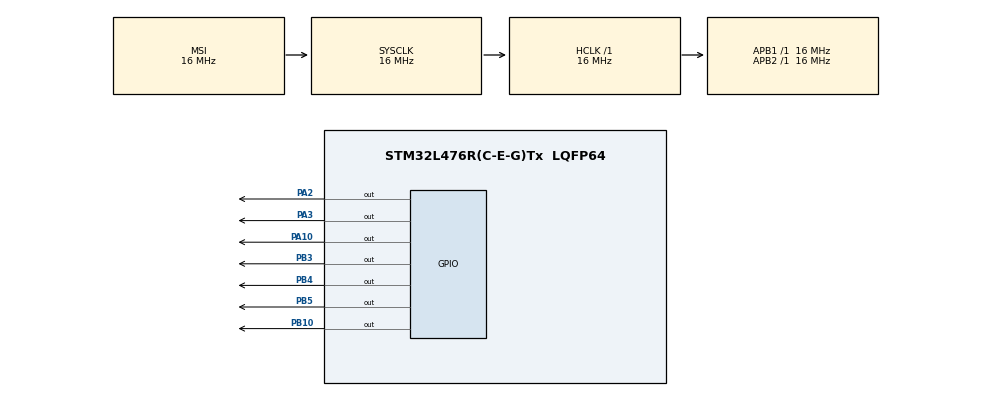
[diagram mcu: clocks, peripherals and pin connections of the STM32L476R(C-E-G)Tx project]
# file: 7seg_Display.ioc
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Mcu.Family=STM32L4
Mcu.Name=STM32L476R(C-E-G)Tx
Mcu.Package=LQFP64
NVIC.PriorityGroup=NVIC_PRIORITYGROUP_4
PA10.Signal=GPIO_Output
PA2.Signal=GPIO_Output
PA3.Signal=GPIO_Output
PB10.Signal=GPIO_Output
PB3\ (JTDO-TRACESWO).Signal=GPIO_Output
PB4\ (NJTRST).Signal=GPIO_Output
PB5.Signal=GPIO_Output
ProjectManager.HeapSize=0x200
ProjectManager.StackSize=0x400
ProjectManager.TargetToolchain=STM32CubeIDE
RCC.ADCFreq_Value=64000000
RCC.AHBFreq_Value=16000000
RCC.APB1Freq_Value=16000000
RCC.APB1TimFreq_Value=16000000
RCC.APB2Freq_Value=16000000
RCC.APB2TimFreq_Value=16000000
RCC.CortexFreq_Value=16000000
RCC.HCLKFreq_Value=16000000
RCC.HSE_VALUE=8000000
RCC.HSI_VALUE=16000000
RCC.LSE_VALUE=32768
RCC.MSIClockRange=RCC_MSIRANGE_8
RCC.MSI_VALUE=16000000
RCC.SYSCLKFreq_VALUE=16000000
RCC.USBFreq_Value=64000000
RCC.VCOOutputFreq_Value=128000000
board=custom

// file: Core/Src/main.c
/* USER CODE BEGIN Header */
/**
  ******************************************************************************
  * @file           : main.c
  * @brief          : Main program body
  ******************************************************************************
  * @attention
  *
  * Copyright (c) 2023 STMicroelectronics.
  * All rights reserved.
  *
  * This software is licensed under terms that can be found in the LICENSE file
  * in the root directory of this software component.
  * If no LICENSE file comes with this software, it is provided AS-IS.
  *
  ******************************************************************************
  */
/* USER CODE END Header */
#include "main.h"

void SystemClock_Config(void);
static void MX_GPIO_Init(void);

/* USER CODE BEGIN PFP */
void SegDisplay_U(uint16_t chiffre);
/* USER CODE END PFP */

int main(void)
{

  /* MCU Configuration--------------------------------------------------------*/

  /* Reset of all peripherals, Initializes the Flash interface and the Systick. */
  HAL_Init();

  /* Configure the system clock */
  SystemClock_Config();

  /* Initialize all configured peripherals */
  MX_GPIO_Init();

  /* Infinite loop */
  while (1)
  {

    /* USER CODE BEGIN 3 */
	 int j;
	 for(j = 0; j < 10 ; j++){
	 SegDisplay_U(j);
	 HAL_Delay(500);
  }
  /* USER CODE END 3 */
}

void SystemClock_Config(void)
{
  RCC_OscInitTypeDef RCC_OscInitStruct = {0};
  RCC_ClkInitTypeDef RCC_ClkInitStruct = {0};

  /** Configure the main internal regulator output voltage
  */
  if (HAL_PWREx_ControlVoltageScaling(PWR_REGULATOR_VOLTAGE_SCALE1) != HAL_OK)
  {
    Error_Handler();
  }

  /** Initializes the RCC Oscillators according to the specified parameters
  * in the RCC_OscInitTypeDef structure.
  */
  RCC_OscInitStruct.OscillatorType = RCC_OSCILLATORTYPE_MSI;
  RCC_OscInitStruct.MSIState = RCC_MSI_ON;
  RCC_OscInitStruct.MSICalibrationValue = 0;
  RCC_OscInitStruct.MSIClockRange = RCC_MSIRANGE_8;
  RCC_OscInitStruct.PLL.PLLState = RCC_PLL_NONE;
  if (HAL_RCC_OscConfig(&RCC_OscInitStruct) != HAL_OK)
  {
    Error_Handler();
  }

  /** Initializes the CPU, AHB and APB buses clocks
  */
  RCC_ClkInitStruct.ClockType = RCC_CLOCKTYPE_HCLK|RCC_CLOCKTYPE_SYSCLK
                              |RCC_CLOCKTYPE_PCLK1|RCC_CLOCKTYPE_PCLK2;
  RCC_ClkInitStruct.SYSCLKSource = RCC_SYSCLKSOURCE_MSI;
  RCC_ClkInitStruct.AHBCLKDivider = RCC_SYSCLK_DIV1;
  RCC_ClkInitStruct.APB1CLKDivider = RCC_HCLK_DIV1;
  RCC_ClkInitStruct.APB2CLKDivider = RCC_HCLK_DIV1;

  if (HAL_RCC_ClockConfig(&RCC_ClkInitStruct, FLASH_LATENCY_0) != HAL_OK)
  {
    Error_Handler();
  }
}

static void MX_GPIO_Init(void)
{
  GPIO_InitTypeDef GPIO_InitStruct = {0};

  /* GPIO Ports Clock Enable */
  __HAL_RCC_GPIOA_CLK_ENABLE();
  __HAL_RCC_GPIOB_CLK_ENABLE();

  /*Configure GPIO pin Output Level */
  HAL_GPIO_WritePin(GPIOA, GPIO_PIN_2|GPIO_PIN_3|GPIO_PIN_10, GPIO_PIN_RESET);

  /*Configure GPIO pin Output Level */
  HAL_GPIO_WritePin(GPIOB, GPIO_PIN_10|GPIO_PIN_3|GPIO_PIN_4|GPIO_PIN_5, GPIO_PIN_RESET);

  /*Configure GPIO pins : PA2 PA3 PA10 */
  GPIO_InitStruct.Pin = GPIO_PIN_2|GPIO_PIN_3|GPIO_PIN_10;
  GPIO_InitStruct.Mode = GPIO_MODE_OUTPUT_PP;
  GPIO_InitStruct.Pull = GPIO_NOPULL;
  GPIO_InitStruct.Speed = GPIO_SPEED_FREQ_LOW;
  HAL_GPIO_Init(GPIOA, &GPIO_InitStruct);

  /*Configure GPIO pins : PB10 PB3 PB4 PB5 */
  GPIO_InitStruct.Pin = GPIO_PIN_10|GPIO_PIN_3|GPIO_PIN_4|GPIO_PIN_5;
  GPIO_InitStruct.Mode = GPIO_MODE_OUTPUT_PP;
  GPIO_InitStruct.Pull = GPIO_NOPULL;
  GPIO_InitStruct.Speed = GPIO_SPEED_FREQ_LOW;
  HAL_GPIO_Init(GPIOB, &GPIO_InitStruct);

}

/* USER CODE BEGIN 4 */

void SegDisplay_U(uint16_t chiffre){
switch (chiffre){
case 0 :
HAL_GPIO_WritePin(GPIOC, SEGMENT_A_U | SEGMENT_B_U | SEGMENT_C_U | SEGMENT_D_U | SEGMENT_E_U | SEGMENT_F_U | SEGMENT_G_U, GPIO_PIN_RESET);
HAL_GPIO_WritePin(GPIOC, SEGMENT_A_U | SEGMENT_B_U | SEGMENT_C_U | SEGMENT_D_U | SEGMENT_E_U | SEGMENT_F_U, GPIO_PIN_SET);
break;
case 1 :
HAL_GPIO_WritePin(GPIOC, SEGMENT_A_U | SEGMENT_B_U | SEGMENT_C_U | SEGMENT_D_U | SEGMENT_E_U | SEGMENT_F_U | SEGMENT_G_U, GPIO_PIN_RESET);
HAL_GPIO_WritePin(GPIOC, SEGMENT_B_U | SEGMENT_C_U , GPIO_PIN_SET);
break;
case 2 :
HAL_GPIO_WritePin(GPIOC, SEGMENT_A_U | SEGMENT_B_U | SEGMENT_C_U | SEGMENT_D_U | SEGMENT_E_U | SEGMENT_F_U | SEGMENT_G_U, GPIO_PIN_RESET);
HAL_GPIO_WritePin(GPIOC, SEGMENT_A_U | SEGMENT_B_U | SEGMENT_G_U | SEGMENT_D_U | SEGMENT_E_U , GPIO_PIN_SET);
break;
case 3 :
HAL_GPIO_WritePin(GPIOC, SEGMENT_A_U | SEGMENT_B_U | SEGMENT_C_U | SEGMENT_D_U | SEGMENT_E_U | SEGMENT_F_U | SEGMENT_G_U, GPIO_PIN_RESET);
HAL_GPIO_WritePin(GPIOC, SEGMENT_A_U | SEGMENT_B_U | SEGMENT_C_U | SEGMENT_D_U | SEGMENT_G_U , GPIO_PIN_SET);
break;
case 4 :
HAL_GPIO_WritePin(GPIOC, SEGMENT_A_U | SEGMENT_B_U | SEGMENT_C_U | SEGMENT_D_U | SEGMENT_E_U | SEGMENT_F_U | SEGMENT_G_U, GPIO_PIN_RESET);
HAL_GPIO_WritePin(GPIOC, SEGMENT_F_U | SEGMENT_B_U | SEGMENT_C_U | SEGMENT_G_U , GPIO_PIN_SET);
break;
case 5 :
HAL_GPIO_WritePin(GPIOC, SEGMENT_A_U | SEGMENT_B_U | SEGMENT_C_U | SEGMENT_D_U | SEGMENT_E_U | SEGMENT_F_U | SEGMENT_G_U, GPIO_PIN_RESET);
HAL_GPIO_WritePin(GPIOC, SEGMENT_A_U | SEGMENT_C_U | SEGMENT_D_U | SEGMENT_G_U | SEGMENT_F_U, GPIO_PIN_SET);
break;
case 6 :
HAL_GPIO_WritePin(GPIOC, SEGMENT_A_U | SEGMENT_B_U | SEGMENT_C_U | SEGMENT_D_U | SEGMENT_E_U | SEGMENT_F_U | SEGMENT_G_U, GPIO_PIN_RESET);
HAL_GPIO_WritePin(GPIOC, SEGMENT_A_U | SEGMENT_C_U | SEGMENT_D_U | SEGMENT_E_U | SEGMENT_F_U | SEGMENT_G_U, GPIO_PIN_SET);
break;
case 7 :
HAL_GPIO_WritePin(GPIOC, SEGMENT_A_U | SEGMENT_B_U | SEGMENT_C_U | SEGMENT_D_U | SEGMENT_E_U | SEGMENT_F_U | SEGMENT_G_U, GPIO_PIN_RESET);
HAL_GPIO_WritePin(GPIOC, SEGMENT_A_U | SEGMENT_B_U | SEGMENT_C_U , GPIO_PIN_SET);
break;
case 8 :
HAL_GPIO_WritePin(GPIOC, SEGMENT_A_U | SEGMENT_B_U | SEGMENT_C_U | SEGMENT_D_U | SEGMENT_E_U | SEGMENT_F_U | SEGMENT_G_U, GPIO_PIN_RESET);
HAL_GPIO_WritePin(GPIOC, SEGMENT_A_U | SEGMENT_B_U | SEGMENT_C_U | SEGMENT_D_U | SEGMENT_E_U | SEGMENT_F_U | SEGMENT_G_U, GPIO_PIN_SET);
break;
case 9 :
HAL_GPIO_WritePin(GPIOC, SEGMENT_A_U | SEGMENT_B_U | SEGMENT_C_U | SEGMENT_D_U | SEGMENT_E_U | SEGMENT_F_U | SEGMENT_G_U, GPIO_PIN_RESET);
HAL_GPIO_WritePin(GPIOC, SEGMENT_A_U | SEGMENT_B_U | SEGMENT_C_U | SEGMENT_D_U | SEGMENT_G_U | SEGMENT_F_U, GPIO_PIN_SET);
break;

default:
HAL_GPIO_WritePin(GPIOC, SEGMENT_A_U | SEGMENT_B_U | SEGMENT_C_U | SEGMENT_D_U | SEGMENT_E_U | SEGMENT_F_U, GPIO_PIN_SET);
break;

}

}

/* USER CODE END 4 */

void Error_Handler(void)
{
  __disable_irq();
  while (1)
  {
  }
}
